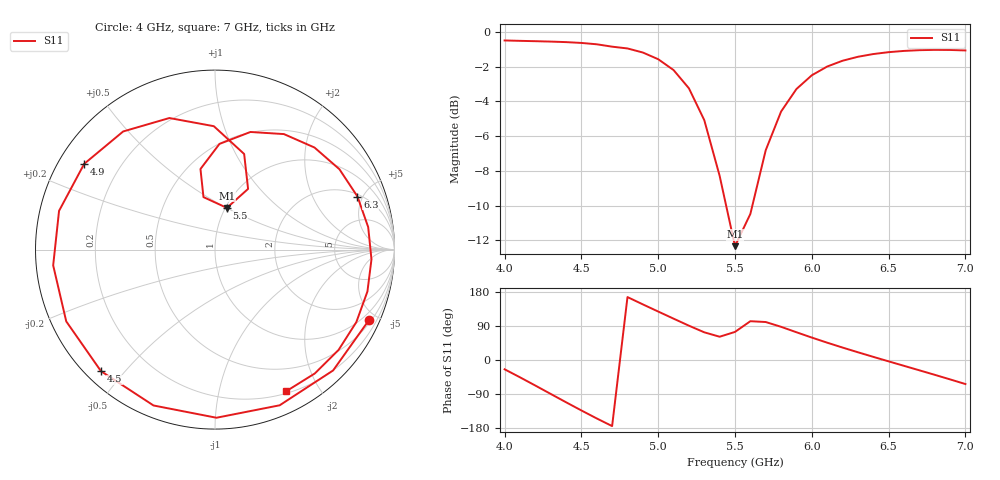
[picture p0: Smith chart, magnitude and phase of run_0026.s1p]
! Touchstone file exported from HFSS 2024.2.0
!  File:  C:/Users/wsak9/Desktop/Sim Fast/Widenad Patch/WP_AI_V1_sweep.aedt
!  Generated:  03:49:24 PM Oct 13, 2026
!  Design:  A1_model
!  Project:  WP_AI_V1_sweep
!  Setup:  Setup1
!  Solution:  Sweep
! Variables:
!  Air_gap = 4.22mm
!  Curve_Amp1 = 1.27
!  Curve_len1 = 1
!  Curve_pos = 10.63mm
!  Extra = 3.69mm
!  H_sub = 0.79mm
!  L_Patch = 17.26mm
!  L_Patch1 = 12.59mm
!  Sx = 3.69mm
!  Sy = 3.83mm
!  WS = 0.78mm
!  W_Patch = 20.25mm
!  W_Patch1 = 8.9mm
!Data is not renormalized
# GHz S MA
! Terminal data exported
! Port[1] = 1
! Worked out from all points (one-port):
!   31 points, 4 GHz to 7 GHz, reference per port
!   lowest |S11| = -12.3 dB at 5.5 GHz (marker M1), VSWR 1.64
!   |S11| at or under -10 dB: 5.442 GHz to 5.613 GHz (170.7 MHz wide, 3.09 % of centre)
!   S11 on the Smith chart (normalised r, x): 4 GHz: 0.63, -4.52; 4.5 GHz: 0.04, -0.43; 4.9 GHz: 0.07, +0.30; 5.5 GHz: 1.02, +0.50; 6.3 GHz: 2.17, +4.55; 7 GHz: 0.22, -1.60
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4  0.9439 -24.5
4.1  0.9415 -45.7
4.2  0.9393 -67.4
4.3  0.9369 -89.5
4.4  0.9336 -111.5
4.5  0.9285 -133.2
4.6  0.9202 -154.2
4.7  0.9059 -174.4
4.8  0.8952 166.1
4.9  0.8714 146.8
5  0.8337 127.9
5.1  0.7759 109.1
5.2  0.6876 90.5
5.3  0.5569 73.0
5.4  0.3851 61.4
5.5  0.2418 74.1
5.6  0.2993 102.4
5.7  0.4563 100.2
5.8  0.5895 87.6
5.9  0.6844 73.2
6  0.7495 59.2
6.1  0.7942 45.7
6.3  0.8471 20.4
6.4  0.8626 8.3
6.5  0.8735 -3.6
6.7  0.8851 -27.2
6.8  0.8868 -39.1
7  0.8835 -63.4
